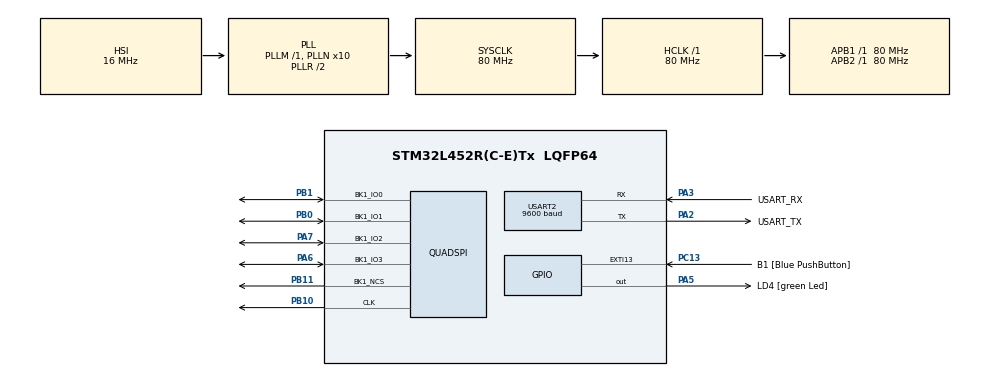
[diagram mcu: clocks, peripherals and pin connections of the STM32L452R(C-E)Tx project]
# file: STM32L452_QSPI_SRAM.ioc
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Dma.QUADSPI.0.Direction=DMA_PERIPH_TO_MEMORY
Dma.QUADSPI.0.Instance=DMA1_Channel5
Dma.QUADSPI.0.MemDataAlignment=DMA_MDATAALIGN_BYTE
Dma.QUADSPI.0.MemInc=DMA_MINC_ENABLE
Dma.QUADSPI.0.Mode=DMA_NORMAL
Dma.QUADSPI.0.PeriphDataAlignment=DMA_PDATAALIGN_BYTE
Dma.QUADSPI.0.PeriphInc=DMA_PINC_DISABLE
Dma.QUADSPI.0.Priority=DMA_PRIORITY_VERY_HIGH
Dma.Request0=QUADSPI
Mcu.Family=STM32L4
Mcu.Name=STM32L452R(C-E)Tx
Mcu.Package=LQFP64
NVIC.DMA1_Channel5_IRQn=true\:0\:0\:false\:false\:true\:false\:true
NVIC.PriorityGroup=NVIC_PRIORITYGROUP_4
NVIC.QUADSPI_IRQn=true\:0\:0\:false\:false\:true\:true\:true
PA13\ (JTMS/SWDIO).GPIO_Label=TMS
PA13\ (JTMS/SWDIO).Mode=Serial_Wire
PA13\ (JTMS/SWDIO).Signal=SYS_JTMS-SWDIO
PA14\ (JTCK/SWCLK).GPIO_Label=TCK
PA14\ (JTCK/SWCLK).Mode=Serial_Wire
PA14\ (JTCK/SWCLK).Signal=SYS_JTCK-SWCLK
PA2.GPIO_Label=USART_TX
PA2.GPIO_Mode=GPIO_MODE_AF_PP
PA2.GPIO_PuPd=GPIO_NOPULL
PA2.GPIO_Speed=GPIO_SPEED_FREQ_VERY_HIGH
PA2.Mode=Asynchronous
PA2.Signal=USART2_TX
PA3.GPIO_Label=USART_RX
PA3.GPIO_Mode=GPIO_MODE_AF_PP
PA3.GPIO_PuPd=GPIO_NOPULL
PA3.GPIO_Speed=GPIO_SPEED_FREQ_VERY_HIGH
PA3.Mode=Asynchronous
PA3.Signal=USART2_RX
PA5.GPIO_Label=LD4 [green Led]
PA5.GPIO_ModeDefaultOutputPP=GPIO_MODE_OUTPUT_PP
PA5.GPIO_PuPd=GPIO_NOPULL
PA5.GPIO_Speed=GPIO_SPEED_FREQ_LOW
PA5.Signal=GPIO_Output
PA6.Mode=Single Bank 1
PA6.Signal=QUADSPI_BK1_IO3
PA7.Mode=Single Bank 1
PA7.Signal=QUADSPI_BK1_IO2
PB0.Mode=Single Bank 1
PB0.Signal=QUADSPI_BK1_IO1
PB1.Mode=Single Bank 1
PB1.Signal=QUADSPI_BK1_IO0
PB10.Mode=Single Bank 1
PB10.Signal=QUADSPI_CLK
PB11.Mode=Single Bank 1
PB11.Signal=QUADSPI_BK1_NCS
PB3\ (JTDO/TRACESWO).GPIO_Label=SWO
PB3\ (JTDO/TRACESWO).Signal=SYS_JTDO-SWO
PC13.GPIO_Label=B1 [Blue PushButton]
PC13.GPIO_ModeDefaultEXTI=GPIO_MODE_IT_FALLING
PC13.GPIO_PuPd=GPIO_NOPULL
PC13.Signal=GPXTI13
PC14-OSC32_IN\ (PC14).Mode=LSE-External-Oscillator
PC14-OSC32_IN\ (PC14).Signal=RCC_OSC32_IN
PC15-OSC32_OUT\ (PC15).Mode=LSE-External-Oscillator
PC15-OSC32_OUT\ (PC15).Signal=RCC_OSC32_OUT
PH0-OSC_IN\ (PH0).Signal=RCC_OSC_IN
PH1-OSC_OUT\ (PH1).Signal=RCC_OSC_OUT
ProjectManager.HeapSize=0x200
ProjectManager.StackSize=0x400
ProjectManager.TargetToolchain=SW4STM32
QUADSPI.ClockPrescaler=1
QUADSPI.FlashSize=19
RCC.ADCFreq_Value=64000000
RCC.AHBFreq_Value=80000000
RCC.APB1Freq_Value=80000000
RCC.APB1TimFreq_Value=80000000
RCC.APB2Freq_Value=80000000
RCC.APB2TimFreq_Value=80000000
RCC.CortexFreq_Value=80000000
RCC.HCLKFreq_Value=80000000
RCC.HSE_VALUE=8000000
RCC.HSI48_VALUE=48000000
RCC.HSI_VALUE=16000000
RCC.MSI_VALUE=4000000
RCC.PLLN=10
RCC.PLLSourceVirtual=RCC_PLLSOURCE_HSI
RCC.PREFETCH_ENABLE=1
RCC.SYSCLKFreq_VALUE=80000000
RCC.SYSCLKSource=RCC_SYSCLKSOURCE_PLLCLK
RCC.USBFreq_Value=64000000
RCC.VCOOutputFreq_Value=160000000
USART2.BaudRate=9600
USART2.VirtualMode-Asynchronous=VM_ASYNC
board=NUCLEO-L452RE

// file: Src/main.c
/* USER CODE BEGIN Header */
/**
  ******************************************************************************
  * @file           : main.c
  * @brief          : Main program body
  ******************************************************************************
  * @attention
  *
  * <h2><center>&copy; Copyright (c) 2021 STMicroelectronics.
  * All rights reserved.</center></h2>
  *
  * This software component is licensed by ST under BSD 3-Clause license,
  * the "License"; You may not use this file except in compliance with the
  * License. You may obtain a copy of the License at:
  *                        opensource.org/licenses/BSD-3-Clause
  *
  ******************************************************************************
  */
/* USER CODE END Header */

#include "main.h"

/* USER CODE BEGIN Includes */
#include <stdio.h>
#include <stdlib.h>
/* USER CODE END Includes */

/* USER CODE BEGIN PM */
#define WRITE_CMD			   0x02
#define READ_CMD               0x03
#define ESQI_CMD               0x38
#define RSTDQI_CMD			   0xFF
//#define ESDI_CMD			   0x3B
#define RDMR_CMD			   0x05
#define WRMR_CMD			   0x01
/* USER CODE END PM */

QSPI_HandleTypeDef hqspi;
DMA_HandleTypeDef hdma_quadspi;

UART_HandleTypeDef huart2;

/* USER CODE BEGIN PV */
#define QSPIHandle hqspi
int _write (int fd, char *ptr, int len)
{
  HAL_UART_Transmit(&huart2, (uint8_t*)ptr, len, 1000);
  return len;
}
/* USER CODE END PV */

void SystemClock_Config(void);
static void MX_GPIO_Init(void);
static void MX_DMA_Init(void);
static void MX_QUADSPI_Init(void);
static void MX_USART2_UART_Init(void);

/* USER CODE BEGIN 0 */

int8_t SRAM_Write(uint32_t address, uint8_t *write_data, uint32_t write_length)
{
	QSPI_CommandTypeDef sCommand;
	HAL_StatusTypeDef res=0;
	sCommand.InstructionMode	 		= QSPI_INSTRUCTION_1_LINE;
	sCommand.Instruction			 	= WRITE_CMD;
	sCommand.AddressMode			 	= QSPI_ADDRESS_1_LINE;
	sCommand.Address		 			= address;
	sCommand.AddressSize			 	= QSPI_ADDRESS_24_BITS;
	sCommand.AlternateByteMode 			= QSPI_ALTERNATE_BYTES_NONE;
	sCommand.DataMode					= QSPI_DATA_1_LINE;
	sCommand.DummyCycles			 	= 0;
	sCommand.DdrMode					= QSPI_DDR_MODE_DISABLE;
	sCommand.DdrHoldHalfCycle			= QSPI_DDR_HHC_ANALOG_DELAY;
	sCommand.SIOOMode					= QSPI_SIOO_INST_EVERY_CMD;
	sCommand.NbData						= write_length;

	res+=HAL_QSPI_Command(&QSPIHandle, &sCommand, 0xFFF);
	res+=HAL_QSPI_Transmit(&QSPIHandle, write_data, 0xFFF);

	return res;
}

int8_t SRAM_QWrite(uint32_t address, uint8_t *write_data, uint32_t write_length)
{
	QSPI_CommandTypeDef sCommand;
	HAL_StatusTypeDef res=0;
	sCommand.InstructionMode	 		= QSPI_INSTRUCTION_4_LINES;
	sCommand.Instruction			 	= WRITE_CMD;
	sCommand.AddressMode			 	= QSPI_ADDRESS_4_LINES;
	sCommand.Address		 			= address;
	sCommand.AddressSize			 	= QSPI_ADDRESS_24_BITS;
	sCommand.AlternateByteMode 			= QSPI_ALTERNATE_BYTES_NONE;
	sCommand.DataMode					= QSPI_DATA_4_LINES;
	sCommand.DummyCycles			 	= 0;
	sCommand.DdrMode					= QSPI_DDR_MODE_DISABLE;
	sCommand.DdrHoldHalfCycle			= QSPI_DDR_HHC_ANALOG_DELAY;
	sCommand.SIOOMode					= QSPI_SIOO_INST_EVERY_CMD;
	sCommand.NbData						= write_length;

	res+=HAL_QSPI_Command(&QSPIHandle, &sCommand, 0xFFF);
	res+=HAL_QSPI_Transmit(&QSPIHandle, write_data, 0xFFF);

	return res;
}

int8_t SRAM_Read(uint32_t address, uint8_t *read_data, uint32_t read_length)
{
	QSPI_CommandTypeDef sCommand;
	HAL_StatusTypeDef res=0;
	sCommand.InstructionMode	 		= QSPI_INSTRUCTION_1_LINE;
	sCommand.Instruction			 	= READ_CMD;
	sCommand.AddressMode			 	= QSPI_ADDRESS_1_LINE;
	sCommand.Address		 			= address;
	sCommand.AddressSize			 	= QSPI_ADDRESS_24_BITS;
	sCommand.AlternateByteMode 			= QSPI_ALTERNATE_BYTES_NONE;
	sCommand.DataMode					= QSPI_DATA_1_LINE;
	sCommand.DummyCycles			 	= 0;
	sCommand.DdrMode					= QSPI_DDR_MODE_DISABLE;
	sCommand.DdrHoldHalfCycle			= QSPI_DDR_HHC_ANALOG_DELAY;
	sCommand.SIOOMode					= QSPI_SIOO_INST_EVERY_CMD;
	sCommand.NbData						= read_length;

	res+=HAL_QSPI_Command(&QSPIHandle, &sCommand, 0xFFF);
	res+=HAL_QSPI_Receive(&QSPIHandle, read_data, 0xFFF);

	return res;
}

int8_t SRAM_QRead(uint32_t address, uint8_t *read_data, uint32_t read_length)
{

	QSPI_CommandTypeDef sCommand;
	HAL_StatusTypeDef res=0;
	sCommand.InstructionMode	 		= QSPI_INSTRUCTION_4_LINES;
	sCommand.Instruction			 	= READ_CMD;
	sCommand.AddressMode			 	= QSPI_ADDRESS_4_LINES;
	sCommand.Address		 			= address;
	sCommand.AddressSize			 	= QSPI_ADDRESS_24_BITS;
	sCommand.AlternateByteMode 			= QSPI_ALTERNATE_BYTES_NONE;
	sCommand.DataMode					= QSPI_DATA_4_LINES;
	sCommand.DummyCycles			 	= 2;
	sCommand.DdrMode					= QSPI_DDR_MODE_DISABLE;
	sCommand.DdrHoldHalfCycle			= QSPI_DDR_HHC_ANALOG_DELAY;
	sCommand.SIOOMode					= QSPI_SIOO_INST_EVERY_CMD;
	sCommand.NbData						= read_length;

	res+=HAL_QSPI_Command(&QSPIHandle, &sCommand, 0xFFF);
	res+=HAL_QSPI_Receive(&QSPIHandle, read_data, 0xFFF);

	return res;
}

int8_t SRAM_SMode()
{

	QSPI_CommandTypeDef sCommand;
	HAL_StatusTypeDef res=0;
	sCommand.InstructionMode	 		= QSPI_INSTRUCTION_4_LINES;
	sCommand.Instruction			 	= RSTDQI_CMD;
	sCommand.AddressMode			 	= QSPI_ADDRESS_NONE;
	sCommand.Address		 			= 0;
	sCommand.AddressSize			 	= QSPI_ADDRESS_24_BITS;
	sCommand.AlternateByteMode 			= QSPI_ALTERNATE_BYTES_NONE;
	sCommand.DataMode					= QSPI_DATA_NONE;
	sCommand.DummyCycles			 	= 0;
	sCommand.DdrMode					= QSPI_DDR_MODE_DISABLE;
	sCommand.DdrHoldHalfCycle			= QSPI_DDR_HHC_ANALOG_DELAY;
	sCommand.SIOOMode					= QSPI_SIOO_INST_EVERY_CMD;
	sCommand.NbData						= 0;

	res=HAL_QSPI_Command(&QSPIHandle, &sCommand, 0xFFF);

	return res;
}

int8_t SRAM_QMode()
{

	QSPI_CommandTypeDef sCommand;
	HAL_StatusTypeDef res=0;

	sCommand.InstructionMode	 		= QSPI_INSTRUCTION_1_LINE;
	sCommand.Instruction			 	= ESQI_CMD;
	sCommand.AddressMode			 	= QSPI_ADDRESS_NONE;
	sCommand.Address		 			= 0;
	sCommand.AddressSize			 	= QSPI_ADDRESS_24_BITS;
	sCommand.AlternateByteMode 			= QSPI_ALTERNATE_BYTES_NONE;
	sCommand.DataMode					= QSPI_DATA_NONE;
	sCommand.DummyCycles			 	= 0;
	sCommand.DdrMode					= QSPI_DDR_MODE_DISABLE;
	sCommand.DdrHoldHalfCycle			= QSPI_DDR_HHC_ANALOG_DELAY;
	sCommand.SIOOMode					= QSPI_SIOO_INST_EVERY_CMD;
	sCommand.NbData						= 0;

	res=HAL_QSPI_Command(&QSPIHandle, &sCommand, 0xFFF);

	return res;
}

int8_t SRAM_ReadModeReg(uint8_t *val)
{
	QSPI_CommandTypeDef sCommand;
	HAL_StatusTypeDef res=0;
	sCommand.InstructionMode	 		= QSPI_INSTRUCTION_1_LINE;
	sCommand.Instruction			 	= RDMR_CMD;
	sCommand.AddressMode			 	= QSPI_ADDRESS_NONE;
	sCommand.Address		 			= 0;
	sCommand.AddressSize			 	= QSPI_ADDRESS_24_BITS;
	sCommand.AlternateByteMode 			= QSPI_ALTERNATE_BYTES_NONE;
	sCommand.DataMode					= QSPI_DATA_1_LINE;
	sCommand.DummyCycles			 	= 0;
	sCommand.DdrMode					= QSPI_DDR_MODE_DISABLE;
	sCommand.DdrHoldHalfCycle			= QSPI_DDR_HHC_ANALOG_DELAY;
	sCommand.SIOOMode					= QSPI_SIOO_INST_EVERY_CMD;
	sCommand.NbData						= 1;

	res+=HAL_QSPI_Command(&QSPIHandle, &sCommand, 0xFFF);
	res+=HAL_QSPI_Receive(&QSPIHandle, val, 0xFFF);
	val[0]=val[0]>>6;

	return res;
}

int8_t SRAM_WriteModeReg(uint8_t *val)
{
	QSPI_CommandTypeDef sCommand;
	HAL_StatusTypeDef res=0;
	sCommand.InstructionMode	 		= QSPI_INSTRUCTION_1_LINE;
	sCommand.Instruction			 	= WRMR_CMD;
	sCommand.AddressMode			 	= QSPI_ADDRESS_NONE;
	sCommand.Address		 			= 0;
	sCommand.AddressSize			 	= QSPI_ADDRESS_24_BITS;
	sCommand.AlternateByteMode 			= QSPI_ALTERNATE_BYTES_NONE;
	sCommand.DataMode					= QSPI_DATA_1_LINE;
	sCommand.DummyCycles			 	= 0;
	sCommand.DdrMode					= QSPI_DDR_MODE_DISABLE;
	sCommand.DdrHoldHalfCycle			= QSPI_DDR_HHC_ANALOG_DELAY;
	sCommand.SIOOMode					= QSPI_SIOO_INST_EVERY_CMD;
	sCommand.NbData						= 1;

	val[0]=val[0]<<6;
	res+=HAL_QSPI_Command(&QSPIHandle, &sCommand, 0xFFF);
	res+=HAL_QSPI_Transmit(&QSPIHandle, val, 0xFFF);

	return res;
}

/* USER CODE END 0 */

int main(void)
{

  /* MCU Configuration--------------------------------------------------------*/

  /* Reset of all peripherals, Initializes the Flash interface and the Systick. */
  HAL_Init();

  /* Configure the system clock */
  SystemClock_Config();

  /* Initialize all configured peripherals */
  MX_GPIO_Init();
  MX_DMA_Init();
  MX_QUADSPI_Init();
  MX_USART2_UART_Init();
  /* USER CODE BEGIN 2 */
  printf("\n\rInitOK\n\r");
  printf("QSPI TEST FOR SRAM IS62WVS5128FB/IS65WVS5128FB\n\r");
  /* USER CODE END 2 */

  /* Infinite loop */
  /* USER CODE BEGIN WHILE */
  while (1)
  {

		uint8_t wData[0x100];
		uint8_t rData[0x100];
		uint32_t i;
		for(i =0;i<0x100;i ++)
		{
			wData[i] = i;
			rData[i] = 0;
		}

		uint8_t mode[1];

		SRAM_ReadModeReg(mode);
		//mode[0]=mode[0]>>6;
		printf("Mode Reg:%d\n\r",mode[0]);//0:Byte Mode, 1:Sequential Mode(default), 2:Page Mode, 3:Reserved

		printf("Start QSPI Single Mode\n");
		SRAM_Write(0x00, wData, 0x100);
		SRAM_Read(0x00, rData, 0x100);

		printf("QSPI Check Data : \r\n");
		for(i =0;i<0x100;i++)
		{
				if(rData[i] != wData[i])
				{
					printf("W:0x%02X R:0x%02X ",wData[i],rData[i]);
					while(1);
				}
		}
		printf("No Err\r\n");

		printf("QSPI Read Data : \r\n");
		for(i =0;i<0x10;i++)//Pick Up first 0x10 Data
		{
			printf("0x%02X  ",rData[i]);
		}
		printf("\r\n\r\n");

		SRAM_QMode();//QSPI Mode

		printf("Start QSPI Quad Mode\n");
		SRAM_QWrite(0x100, wData, 0x100);
		SRAM_QRead(0x100, rData, 0x100);

		printf("QSPI Check Data : \r\n");
		for(i =0;i<0x100;i++)
		{
				if(rData[i] != wData[i])
				{
					printf("W:0x%02X R:0x%02X ",wData[i],rData[i]);
					while(1);
				}
		}
		printf("No Err\r\n");

		printf("QSPI Read Data : \r\n");
		for(i =0;i<0x10;i++)//Pick Up first 0x10 Data
		{
			printf("0x%02X  ",rData[i]);
		}
		printf("\r\n\r\n");

		SRAM_SMode();//SPI Mode

		while(1);

    /* USER CODE END WHILE */

  }
}

void SystemClock_Config(void)
{
  RCC_OscInitTypeDef RCC_OscInitStruct = {0};
  RCC_ClkInitTypeDef RCC_ClkInitStruct = {0};
  RCC_PeriphCLKInitTypeDef PeriphClkInit = {0};

  /** Initializes the CPU, AHB and APB busses clocks
  */
  RCC_OscInitStruct.OscillatorType = RCC_OSCILLATORTYPE_HSI;
  RCC_OscInitStruct.HSIState = RCC_HSI_ON;
  RCC_OscInitStruct.HSICalibrationValue = RCC_HSICALIBRATION_DEFAULT;
  RCC_OscInitStruct.PLL.PLLState = RCC_PLL_ON;
  RCC_OscInitStruct.PLL.PLLSource = RCC_PLLSOURCE_HSI;
  RCC_OscInitStruct.PLL.PLLM = 1;
  RCC_OscInitStruct.PLL.PLLN = 10;
  RCC_OscInitStruct.PLL.PLLP = RCC_PLLP_DIV7;
  RCC_OscInitStruct.PLL.PLLQ = RCC_PLLQ_DIV2;
  RCC_OscInitStruct.PLL.PLLR = RCC_PLLR_DIV2;
  if (HAL_RCC_OscConfig(&RCC_OscInitStruct) != HAL_OK)
  {
    Error_Handler();
  }
  /** Initializes the CPU, AHB and APB busses clocks
  */
  RCC_ClkInitStruct.ClockType = RCC_CLOCKTYPE_HCLK|RCC_CLOCKTYPE_SYSCLK
                              |RCC_CLOCKTYPE_PCLK1|RCC_CLOCKTYPE_PCLK2;
  RCC_ClkInitStruct.SYSCLKSource = RCC_SYSCLKSOURCE_PLLCLK;
  RCC_ClkInitStruct.AHBCLKDivider = RCC_SYSCLK_DIV1;
  RCC_ClkInitStruct.APB1CLKDivider = RCC_HCLK_DIV1;
  RCC_ClkInitStruct.APB2CLKDivider = RCC_HCLK_DIV1;

  if (HAL_RCC_ClockConfig(&RCC_ClkInitStruct, FLASH_LATENCY_4) != HAL_OK)
  {
    Error_Handler();
  }
  PeriphClkInit.PeriphClockSelection = RCC_PERIPHCLK_USART2;
  PeriphClkInit.Usart2ClockSelection = RCC_USART2CLKSOURCE_PCLK1;
  if (HAL_RCCEx_PeriphCLKConfig(&PeriphClkInit) != HAL_OK)
  {
    Error_Handler();
  }
  /** Configure the main internal regulator output voltage
  */
  if (HAL_PWREx_ControlVoltageScaling(PWR_REGULATOR_VOLTAGE_SCALE1) != HAL_OK)
  {
    Error_Handler();
  }
}

static void MX_QUADSPI_Init(void)
{

  /* QUADSPI parameter configuration*/
  hqspi.Instance = QUADSPI;
  hqspi.Init.ClockPrescaler = 2;
  hqspi.Init.FifoThreshold = 1;
  hqspi.Init.SampleShifting = QSPI_SAMPLE_SHIFTING_NONE;
  hqspi.Init.FlashSize = 24;
  hqspi.Init.ChipSelectHighTime = QSPI_CS_HIGH_TIME_1_CYCLE;
  hqspi.Init.ClockMode = QSPI_CLOCK_MODE_0;
  hqspi.Init.FlashID = QSPI_FLASH_ID_1;
  hqspi.Init.DualFlash = QSPI_DUALFLASH_DISABLE;
  if (HAL_QSPI_Init(&hqspi) != HAL_OK)
  {
    Error_Handler();
  }

}

static void MX_USART2_UART_Init(void)
{

  huart2.Instance = USART2;
  huart2.Init.BaudRate = 9600;
  huart2.Init.WordLength = UART_WORDLENGTH_8B;
  huart2.Init.StopBits = UART_STOPBITS_1;
  huart2.Init.Parity = UART_PARITY_NONE;
  huart2.Init.Mode = UART_MODE_TX_RX;
  huart2.Init.HwFlowCtl = UART_HWCONTROL_NONE;
  huart2.Init.OverSampling = UART_OVERSAMPLING_16;
  huart2.Init.OneBitSampling = UART_ONE_BIT_SAMPLE_DISABLE;
  huart2.AdvancedInit.AdvFeatureInit = UART_ADVFEATURE_NO_INIT;
  if (HAL_UART_Init(&huart2) != HAL_OK)
  {
    Error_Handler();
  }

}

static void MX_DMA_Init(void)
{

  /* DMA controller clock enable */
  __HAL_RCC_DMA1_CLK_ENABLE();

  /* DMA interrupt init */
  /* DMA1_Channel5_IRQn interrupt configuration */
  HAL_NVIC_SetPriority(DMA1_Channel5_IRQn, 0, 0);
  HAL_NVIC_EnableIRQ(DMA1_Channel5_IRQn);

}

static void MX_GPIO_Init(void)
{
  GPIO_InitTypeDef GPIO_InitStruct = {0};

  /* GPIO Ports Clock Enable */
  __HAL_RCC_GPIOC_CLK_ENABLE();
  __HAL_RCC_GPIOH_CLK_ENABLE();
  __HAL_RCC_GPIOA_CLK_ENABLE();
  __HAL_RCC_GPIOB_CLK_ENABLE();

  /*Configure GPIO pin Output Level */
  HAL_GPIO_WritePin(LD4_GPIO_Port, LD4_Pin, GPIO_PIN_RESET);

  /*Configure GPIO pin : B1_Pin */
  GPIO_InitStruct.Pin = B1_Pin;
  GPIO_InitStruct.Mode = GPIO_MODE_IT_FALLING;
  GPIO_InitStruct.Pull = GPIO_NOPULL;
  HAL_GPIO_Init(B1_GPIO_Port, &GPIO_InitStruct);

  /*Configure GPIO pin : LD4_Pin */
  GPIO_InitStruct.Pin = LD4_Pin;
  GPIO_InitStruct.Mode = GPIO_MODE_OUTPUT_PP;
  GPIO_InitStruct.Pull = GPIO_NOPULL;
  GPIO_InitStruct.Speed = GPIO_SPEED_FREQ_LOW;
  HAL_GPIO_Init(LD4_GPIO_Port, &GPIO_InitStruct);

}

void Error_Handler(void)
{
}

/************************ (C) COPYRIGHT STMicroelectronics *****END OF FILE****/
